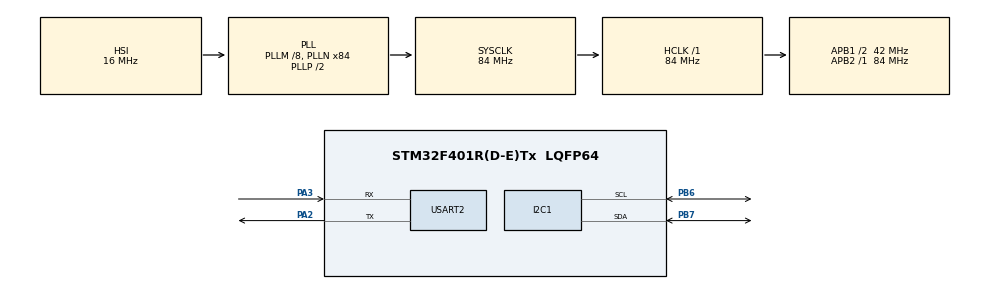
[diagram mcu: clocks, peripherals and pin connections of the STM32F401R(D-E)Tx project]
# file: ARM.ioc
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I2C1.I2C_Mode=I2C_Fast
Mcu.Family=STM32F4
Mcu.Name=STM32F401R(D-E)Tx
Mcu.Package=LQFP64
NVIC.PriorityGroup=NVIC_PRIORITYGROUP_4
PA13.Mode=Serial_Wire
PA13.Signal=SYS_JTMS-SWDIO
PA14.Mode=Serial_Wire
PA14.Signal=SYS_JTCK-SWCLK
PA2.Mode=Asynchronous
PA2.Signal=USART2_TX
PA3.Mode=Asynchronous
PA3.Signal=USART2_RX
PB6.Mode=I2C
PB6.Signal=I2C1_SCL
PB7.Mode=I2C
PB7.Signal=I2C1_SDA
ProjectManager.HeapSize=0x200
ProjectManager.StackSize=0x400
ProjectManager.TargetToolchain=CMake
RCC.48MHZClocksFreq_Value=42000000
RCC.AHBFreq_Value=84000000
RCC.APB1CLKDivider=RCC_HCLK_DIV2
RCC.APB1Freq_Value=42000000
RCC.APB1TimFreq_Value=84000000
RCC.APB2Freq_Value=84000000
RCC.APB2TimFreq_Value=84000000
RCC.CortexFreq_Value=84000000
RCC.HCLKFreq_Value=84000000
RCC.HSE_VALUE=25000000
RCC.HSI_VALUE=16000000
RCC.LSE_VALUE=32768
RCC.PLLM=8
RCC.PLLN=84
RCC.SYSCLKFreq_VALUE=84000000
RCC.SYSCLKSource=RCC_SYSCLKSOURCE_PLLCLK
RCC.VCOOutputFreq_Value=168000000
USART2.VirtualMode=VM_ASYNC
board=custom

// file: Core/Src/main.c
/* USER CODE BEGIN Header */
/**
  ******************************************************************************
  * @file           : main.c
  * @brief          : Main program body
  ******************************************************************************
  * @attention
  *
  * Copyright (c) 2026 STMicroelectronics.
  * All rights reserved.
  *
  * This software is licensed under terms that can be found in the LICENSE file
  * in the root directory of this software component.
  * If no LICENSE file comes with this software, it is provided AS-IS.
  *
  ******************************************************************************
  */
/* USER CODE END Header */
#include "main.h"

/* USER CODE BEGIN Includes */
#include <math.h>
#include "pca9685.h"
#include "arm_control.h"
/* USER CODE END Includes */

/* USER CODE BEGIN PD */
#define MIN_ANGLE      0.0f
#define MAX_ANGLE      180.0f
#define HOME_ANGLE     90.0f
/* USER CODE END PD */

I2C_HandleTypeDef hi2c1;

UART_HandleTypeDef huart2;

/* USER CODE BEGIN PV */
typedef struct {
    uint8_t channel;
    float target_angle;
} Step_t;

// Exact execution sequence based on instructions
const Step_t sequence[] = {
    {0, 0.0f},     // Step 1:  Channel 0 -> 0 deg
    {1, 60.0f},    // Step 2:  Channel 1 -> 60 deg
    {2, 60.0f},    // Step 3:  Channel 2 -> 60 deg
    {3, 60.0f},    // Step 4:  Channel 3 -> 60 deg
    {3, 120.0f},   // Step 5:  Channel 3 -> 120 deg (holds pos)
    {2, 60.0f},    // Step 6:  Channel 2 -> 60 deg
    {1, 60.0f},    // Step 7:  Channel 1 -> 60 deg
    {0, 180.0f},   // Step 8:  Channel 0 -> 180 deg
    {1, 60.0f},    // Step 9:  Channel 1 -> 60 deg
    {2, 60.0f},    // Step 10: Channel 2 -> 60 deg
    {3, 60.0f},    // Step 11: Channel 3 -> 60 deg
    {3, 90.0f},    // Step 12: Channel 3 -> 90 deg
    {2, 90.0f},    // Step 13: Channel 2 -> 90 deg
    {1, 90.0f},    // Step 14: Channel 1 -> 90 deg
    {0, 90.0f}     // Step 15: Channel 0 -> 90 deg (Return base home)
};

#define TOTAL_STEPS (sizeof(sequence) / sizeof(Step_t))

// Current active positions of all 4 channels
float current_angles[4] = {HOME_ANGLE, HOME_ANGLE, HOME_ANGLE, HOME_ANGLE};

uint8_t current_step_idx = 0;
uint8_t sequence_complete = 0;
float movement_speed = 30.0f; // Speed in deg/sec
/* USER CODE END PV */

void SystemClock_Config(void);
static void MX_GPIO_Init(void);
static void MX_I2C1_Init(void);
static void MX_USART2_UART_Init(void);

int main(void)
{

  /* MCU Configuration--------------------------------------------------------*/

  /* Reset of all peripherals, Initializes the Flash interface and the Systick. */
  HAL_Init();

  /* Configure the system clock */
  SystemClock_Config();

  /* Initialize all configured peripherals */
  MX_GPIO_Init();
  MX_I2C1_Init();
  MX_USART2_UART_Init();
  /* USER CODE BEGIN 2 */
  if (PCA9685_Init(&hi2c1) != HAL_OK) {
      Error_Handler();
  }

  for (uint8_t i = 0; i < 4; i++) {
      PCA9685_SetServoAngle(&hi2c1, i, HOME_ANGLE);
  }
  HAL_Delay(1000);
  uint32_t last_tick = HAL_GetTick();

  /* USER CODE END 2 */

  /* Infinite loop */
  /* USER CODE BEGIN WHILE */
  while (1)
  {
      uint32_t current_tick = HAL_GetTick();
    // 50 Hz Update loop (every 20ms)
      if (current_tick - last_tick >= 20) {
          float dt = (current_tick - last_tick) / 1000.0f;
          last_tick = current_tick;

          if (!sequence_complete && current_step_idx < TOTAL_STEPS) {
              uint8_t active_ch = sequence[current_step_idx].channel;
              float target_angle = sequence[current_step_idx].target_angle;
              float current_angle = current_angles[active_ch];

              float diff = target_angle - current_angle;
              float max_step = movement_speed * dt;

              // Check if current target position has been reached
              if (fabsf(diff) <= max_step) {
                  // Lock target angle and update hardware
                  current_angles[active_ch] = target_angle;
                  PCA9685_SetServoAngle(&hi2c1, active_ch, target_angle);

                  // Move to next step in sequence
                  current_step_idx++;
                  if (current_step_idx >= TOTAL_STEPS) {
                      sequence_complete = 1; // Sequence finished!
                  }
              } else {
                  // Step towards target angle smoothly
                  current_angles[active_ch] += (diff > 0 ? max_step : -max_step);
                  PCA9685_SetServoAngle(&hi2c1, active_ch, current_angles[active_ch]);
              }
          }
      }
    /* USER CODE END WHILE */

  }
}

void SystemClock_Config(void)
{
  RCC_OscInitTypeDef RCC_OscInitStruct = {0};
  RCC_ClkInitTypeDef RCC_ClkInitStruct = {0};

  /** Configure the main internal regulator output voltage
  */
  __HAL_RCC_PWR_CLK_ENABLE();
  __HAL_PWR_VOLTAGESCALING_CONFIG(PWR_REGULATOR_VOLTAGE_SCALE2);

  /** Initializes the RCC Oscillators according to the specified parameters
  * in the RCC_OscInitTypeDef structure.
  */
  RCC_OscInitStruct.OscillatorType = RCC_OSCILLATORTYPE_HSI;
  RCC_OscInitStruct.HSIState = RCC_HSI_ON;
  RCC_OscInitStruct.HSICalibrationValue = RCC_HSICALIBRATION_DEFAULT;
  RCC_OscInitStruct.PLL.PLLState = RCC_PLL_ON;
  RCC_OscInitStruct.PLL.PLLSource = RCC_PLLSOURCE_HSI;
  RCC_OscInitStruct.PLL.PLLM = 8;
  RCC_OscInitStruct.PLL.PLLN = 84;
  RCC_OscInitStruct.PLL.PLLP = RCC_PLLP_DIV2;
  RCC_OscInitStruct.PLL.PLLQ = 4;
  if (HAL_RCC_OscConfig(&RCC_OscInitStruct) != HAL_OK)
  {
    Error_Handler();
  }

  /** Initializes the CPU, AHB and APB buses clocks
  */
  RCC_ClkInitStruct.ClockType = RCC_CLOCKTYPE_HCLK|RCC_CLOCKTYPE_SYSCLK
                              |RCC_CLOCKTYPE_PCLK1|RCC_CLOCKTYPE_PCLK2;
  RCC_ClkInitStruct.SYSCLKSource = RCC_SYSCLKSOURCE_PLLCLK;
  RCC_ClkInitStruct.AHBCLKDivider = RCC_SYSCLK_DIV1;
  RCC_ClkInitStruct.APB1CLKDivider = RCC_HCLK_DIV2;
  RCC_ClkInitStruct.APB2CLKDivider = RCC_HCLK_DIV1;

  if (HAL_RCC_ClockConfig(&RCC_ClkInitStruct, FLASH_LATENCY_2) != HAL_OK)
  {
    Error_Handler();
  }
}

static void MX_I2C1_Init(void)
{

  hi2c1.Instance = I2C1;
  hi2c1.Init.ClockSpeed = 400000;
  hi2c1.Init.DutyCycle = I2C_DUTYCYCLE_2;
  hi2c1.Init.OwnAddress1 = 0;
  hi2c1.Init.AddressingMode = I2C_ADDRESSINGMODE_7BIT;
  hi2c1.Init.DualAddressMode = I2C_DUALADDRESS_DISABLE;
  hi2c1.Init.OwnAddress2 = 0;
  hi2c1.Init.GeneralCallMode = I2C_GENERALCALL_DISABLE;
  hi2c1.Init.NoStretchMode = I2C_NOSTRETCH_DISABLE;
  if (HAL_I2C_Init(&hi2c1) != HAL_OK)
  {
    Error_Handler();
  }

}

static void MX_USART2_UART_Init(void)
{

  huart2.Instance = USART2;
  huart2.Init.BaudRate = 115200;
  huart2.Init.WordLength = UART_WORDLENGTH_8B;
  huart2.Init.StopBits = UART_STOPBITS_1;
  huart2.Init.Parity = UART_PARITY_NONE;
  huart2.Init.Mode = UART_MODE_TX_RX;
  huart2.Init.HwFlowCtl = UART_HWCONTROL_NONE;
  huart2.Init.OverSampling = UART_OVERSAMPLING_16;
  if (HAL_UART_Init(&huart2) != HAL_OK)
  {
    Error_Handler();
  }

}

static void MX_GPIO_Init(void)
{

  /* GPIO Ports Clock Enable */
  __HAL_RCC_GPIOA_CLK_ENABLE();
  __HAL_RCC_GPIOB_CLK_ENABLE();

}

void Error_Handler(void)
{
  __disable_irq();
  while (1)
  {
  }
}
